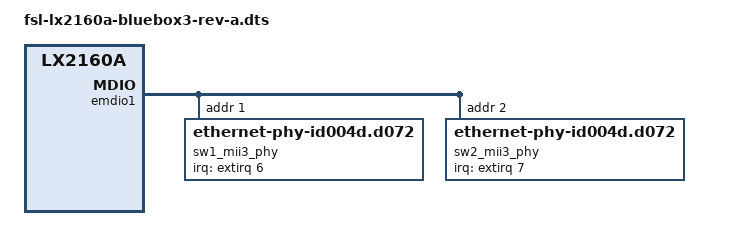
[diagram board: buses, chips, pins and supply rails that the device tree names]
// SPDX-License-Identifier: (GPL-2.0 OR MIT)
//
// Device Tree file for LX2160A BLUEBOX3
//
// Copyright 2020-2021 NXP

/dts-v1/;

#include "fsl-lx2160a-bluebox3.dts"

/ {
	compatible = "fsl,lx2160a-bluebox3-rev-a", "fsl,lx2160a";
};

/* The RGMII PHYs have a different MDIO address */
&emdio1 {
	/delete-node/ ethernet-phy@5;

	sw1_mii3_phy: ethernet-phy@1 {
		/* AR8035 */
		compatible = "ethernet-phy-id004d.d072";
		reg = <0x1>;
		interrupts-extended = <&extirq 6 IRQ_TYPE_LEVEL_LOW>;
	};

	/delete-node/ ethernet-phy@6;

	sw2_mii3_phy: ethernet-phy@2 {
		/* AR8035 */
		compatible = "ethernet-phy-id004d.d072";
		reg = <0x2>;
		interrupts-extended = <&extirq 7 IRQ_TYPE_LEVEL_LOW>;
	};
};
